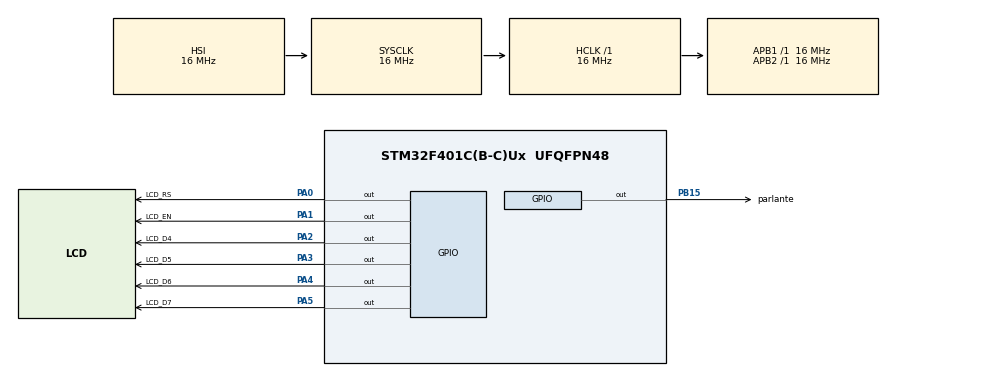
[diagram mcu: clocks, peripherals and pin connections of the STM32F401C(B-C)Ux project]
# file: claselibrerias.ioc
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Mcu.Family=STM32F4
Mcu.Name=STM32F401C(B-C)Ux
Mcu.Package=UFQFPN48
NVIC.PriorityGroup=NVIC_PRIORITYGROUP_4
PA0-WKUP.GPIO_Label=LCD_RS
PA0-WKUP.Signal=GPIO_Output
PA1.GPIO_Label=LCD_EN
PA1.Signal=GPIO_Output
PA2.GPIO_Label=LCD_D4
PA2.Signal=GPIO_Output
PA3.GPIO_Label=LCD_D5
PA3.Signal=GPIO_Output
PA4.GPIO_Label=LCD_D6
PA4.Signal=GPIO_Output
PA5.GPIO_Label=LCD_D7
PA5.Signal=GPIO_Output
PB15.GPIO_Label=parlante
PB15.Signal=GPIO_Output
PH0\ -\ OSC_IN.Mode=HSE-External-Oscillator
PH0\ -\ OSC_IN.Signal=RCC_OSC_IN
PH1\ -\ OSC_OUT.Mode=HSE-External-Oscillator
PH1\ -\ OSC_OUT.Signal=RCC_OSC_OUT
ProjectManager.HeapSize=0x200
ProjectManager.StackSize=0x400
ProjectManager.TargetToolchain=STM32CubeIDE
RCC.AHBFreq_Value=16000000
RCC.APB1Freq_Value=16000000
RCC.APB2Freq_Value=16000000
RCC.CortexFreq_Value=16000000
RCC.HSE_VALUE=25000000
RCC.HSI_VALUE=16000000
RCC.LSE_VALUE=32768
RCC.SYSCLKFreq_VALUE=16000000
RCC.VCOOutputFreq_Value=192000000
board=custom

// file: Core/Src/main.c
/* USER CODE BEGIN Header */
/**
  ******************************************************************************
  * @file           : main.c
  * @brief          : Main program body
  ******************************************************************************
  * @attention
  *
  * Copyright (c) 2025 STMicroelectronics.
  * All rights reserved.
  *
  * This software is licensed under terms that can be found in the LICENSE file
  * in the root directory of this software component.
  * If no LICENSE file comes with this software, it is provided AS-IS.
  *
  ******************************************************************************
  */
/* USER CODE END Header */
#include "main.h"

/* USER CODE BEGIN Includes */
#include "sonido.h"
#include "lcd.h"
#include "delays.h"
/* USER CODE END Includes */

void SystemClock_Config(void);
static void MX_GPIO_Init(void);

/* USER CODE BEGIN 0 */
//retardos usando el timer de debuuger

/* USER CODE END 0 */

int main(void)
{

  /* MCU Configuration--------------------------------------------------------*/

  /* Reset of all peripherals, Initializes the Flash interface and the Systick. */
  HAL_Init();

  /* Configure the system clock */
  SystemClock_Config();

  /* Initialize all configured peripherals */
  MX_GPIO_Init();
  /* USER CODE BEGIN 2 */
  delay_us_dwt_init();
  Lcd_Init();
  Lcd_Cmd(_LCD_CLEAR);
  Lcd_Cmd(_LCD_CURSOR_OFF);
  Lcd_Text(1,4, "Inquietas");
  Lcd_Chr(2,8,'&');
  /* USER CODE END 2 */

  /* Infinite loop */
  /* USER CODE BEGIN WHILE */
  while (1)
  {
	  Sound_play(330,500);
	  HAL_Delay(100);
	  Sound_play(430,500);
	  HAL_Delay(100);
	  Sound_play(530,500);
	  HAL_Delay(100);
	  Sound_play(630,500);
	  HAL_Delay(100);
	  Sound_play(730,500);
	  HAL_Delay(100);
	  Sound_play(830,500);

    /* USER CODE END WHILE */

  }
}

void SystemClock_Config(void)
{
  RCC_OscInitTypeDef RCC_OscInitStruct = {0};
  RCC_ClkInitTypeDef RCC_ClkInitStruct = {0};

  /** Configure the main internal regulator output voltage
  */
  __HAL_RCC_PWR_CLK_ENABLE();
  __HAL_PWR_VOLTAGESCALING_CONFIG(PWR_REGULATOR_VOLTAGE_SCALE2);

  /** Initializes the RCC Oscillators according to the specified parameters
  * in the RCC_OscInitTypeDef structure.
  */
  RCC_OscInitStruct.OscillatorType = RCC_OSCILLATORTYPE_HSI;
  RCC_OscInitStruct.HSIState = RCC_HSI_ON;
  RCC_OscInitStruct.HSICalibrationValue = RCC_HSICALIBRATION_DEFAULT;
  RCC_OscInitStruct.PLL.PLLState = RCC_PLL_NONE;
  if (HAL_RCC_OscConfig(&RCC_OscInitStruct) != HAL_OK)
  {
    Error_Handler();
  }

  /** Initializes the CPU, AHB and APB buses clocks
  */
  RCC_ClkInitStruct.ClockType = RCC_CLOCKTYPE_HCLK|RCC_CLOCKTYPE_SYSCLK
                              |RCC_CLOCKTYPE_PCLK1|RCC_CLOCKTYPE_PCLK2;
  RCC_ClkInitStruct.SYSCLKSource = RCC_SYSCLKSOURCE_HSI;
  RCC_ClkInitStruct.AHBCLKDivider = RCC_SYSCLK_DIV1;
  RCC_ClkInitStruct.APB1CLKDivider = RCC_HCLK_DIV1;
  RCC_ClkInitStruct.APB2CLKDivider = RCC_HCLK_DIV1;

  if (HAL_RCC_ClockConfig(&RCC_ClkInitStruct, FLASH_LATENCY_0) != HAL_OK)
  {
    Error_Handler();
  }
}

static void MX_GPIO_Init(void)
{
  GPIO_InitTypeDef GPIO_InitStruct = {0};

  /* GPIO Ports Clock Enable */
  __HAL_RCC_GPIOH_CLK_ENABLE();
  __HAL_RCC_GPIOA_CLK_ENABLE();
  __HAL_RCC_GPIOB_CLK_ENABLE();

  /*Configure GPIO pin Output Level */
  HAL_GPIO_WritePin(GPIOA, LCD_RS_Pin|LCD_EN_Pin|LCD_D4_Pin|LCD_D5_Pin
                          |LCD_D6_Pin|LCD_D7_Pin, GPIO_PIN_RESET);

  /*Configure GPIO pin Output Level */
  HAL_GPIO_WritePin(parlante_GPIO_Port, parlante_Pin, GPIO_PIN_RESET);

  /*Configure GPIO pins : LCD_RS_Pin LCD_EN_Pin LCD_D4_Pin LCD_D5_Pin
                           LCD_D6_Pin LCD_D7_Pin */
  GPIO_InitStruct.Pin = LCD_RS_Pin|LCD_EN_Pin|LCD_D4_Pin|LCD_D5_Pin
                          |LCD_D6_Pin|LCD_D7_Pin;
  GPIO_InitStruct.Mode = GPIO_MODE_OUTPUT_PP;
  GPIO_InitStruct.Pull = GPIO_NOPULL;
  GPIO_InitStruct.Speed = GPIO_SPEED_FREQ_LOW;
  HAL_GPIO_Init(GPIOA, &GPIO_InitStruct);

  /*Configure GPIO pin : parlante_Pin */
  GPIO_InitStruct.Pin = parlante_Pin;
  GPIO_InitStruct.Mode = GPIO_MODE_OUTPUT_PP;
  GPIO_InitStruct.Pull = GPIO_NOPULL;
  GPIO_InitStruct.Speed = GPIO_SPEED_FREQ_LOW;
  HAL_GPIO_Init(parlante_GPIO_Port, &GPIO_InitStruct);

}

void Error_Handler(void)
{
  __disable_irq();
  while (1)
  {
  }
}
